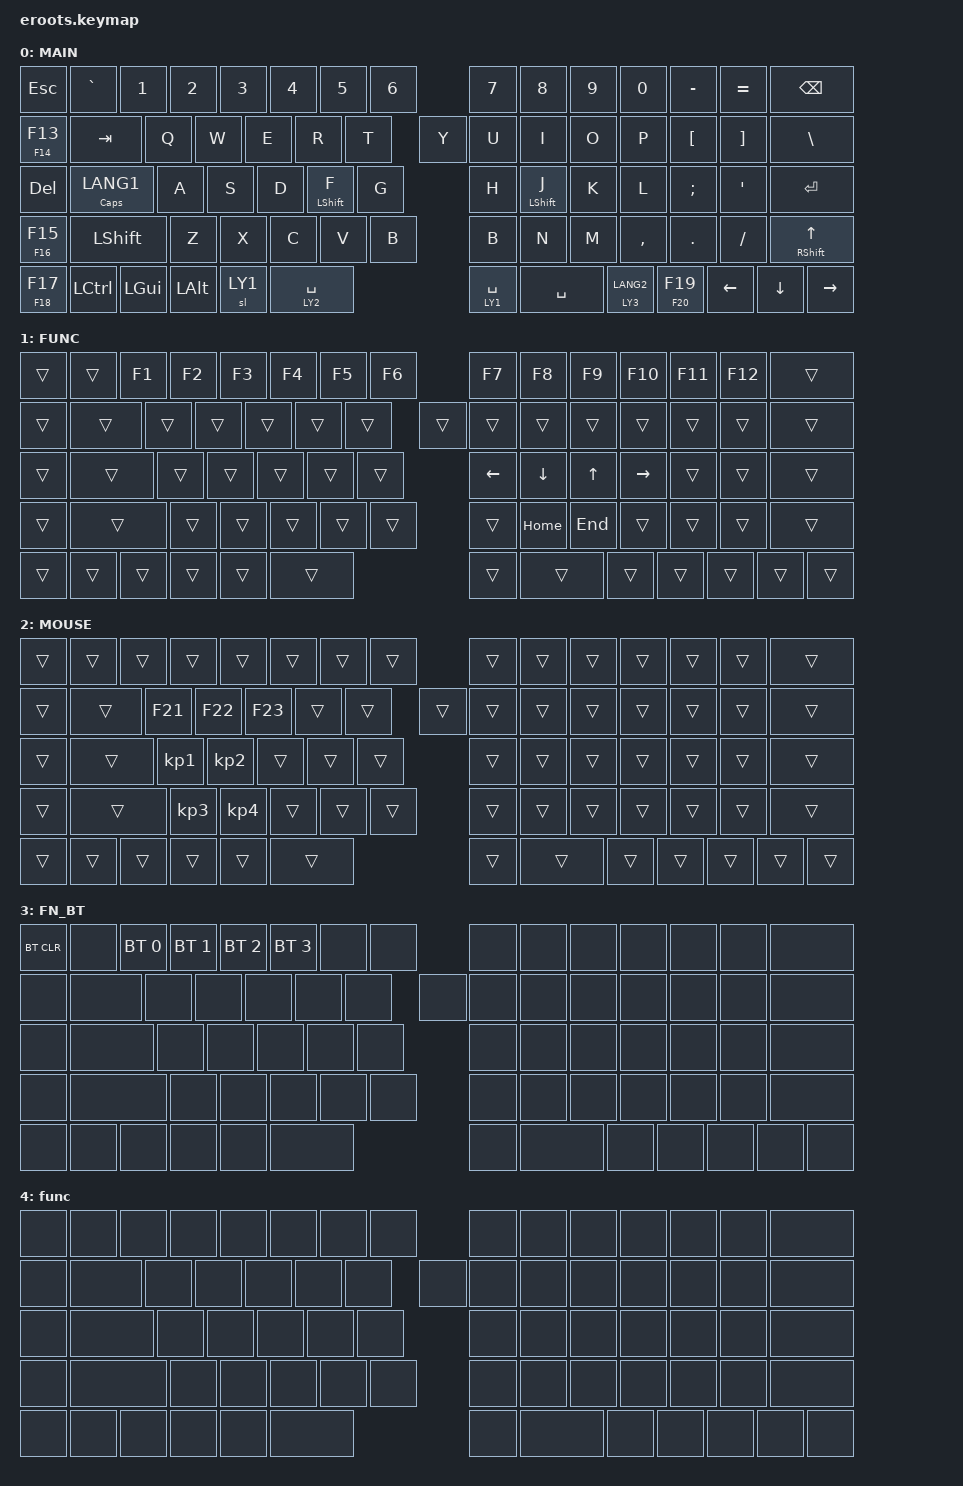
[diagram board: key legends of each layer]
#include <behaviors.dtsi>
#include <dt-bindings/zmk/keys.h>
#include <dt-bindings/zmk/bt.h>
#include <dt-bindings/zmk/ext_power.h>
#include <dt-bindings/zmk/mouse.h>



#include <behaviors/mouse_keys.dtsi>
#include <behaviors/mouse_move.dtsi>

#include <behaviors/behavior_pim447.dtsi>
#include <dt-bindings/behavior_pim447.h>


#define LY0 0
#define LY1 1
#define LY2 2
#define LY3 3
#define LY4 4

#define AS(keycode) &as LS(keycode) keycode


#define COMBO(NAME, BINDINGS, KEYPOS) \
  combo_##NAME { \
    timeout-ms = <50>; \
    bindings = <BINDINGS>; \
    key-positions = <KEYPOS>; \
    layers = <-1>; \
  };

/ {
        combos {
                compatible = "zmk,combos";
                combo_entr {
                    timeout-ms = <50>;
                    key-positions = <38 39>;
                    bindings = <&kp ENTER>;
                };
                combo_bspc {
                    timeout-ms = <50>;
                    key-positions = <39 40>;
                    bindings = <&kp BSPC>;
                };
                combo_esc {
                    timeout-ms = <50>;
                    key-positions = <35 34>;
                    bindings = <&kp ESC>;
                };
        };
};

/ {
        behaviors {
            as: auto_shift {
                compatible = "zmk,behavior-hold-tap";
                label = "AUTO_SHIFT";
                #binding-cells = <2>;
                tapping_term_ms = <200>;
                quick-tap-ms = <0>;
                flavor = "tap-preferred";
                bindings = <&kp>, <&kp>;
            };
        };
};
        


/ {
    keymap {
        compatible = "zmk,keymap";

        default_layer {
            display-name = "MAIN";
            bindings = <
            // --------------------------------------------------------------------------------------------------------------------------------------------------------
                &kp ESC  &kp GRAVE &kp N1  &kp N2  &kp N3  &kp N4   &kp N5  &kp N6            &kp N7   &kp N8    &kp N9   &kp N0    &kp MINUS &kp EQUAL &kp BSPC
            // --------------------------------------------------------------------------------------------------------------------------------------------------------
               &as F14 F13 &kp TAB  &kp Q   &kp W    &kp E   &kp R    &kp T              &kp Y    &kp U    &kp I    &kp O    &kp P     &kp LBKT &kp RBKT &kp BSLH 
            // --------------------------------------------------------------------------------------------------------------------------------------------------------
                &kp DEL  &as CAPS LANG1 &kp A   &kp S    &kp D   &as LSHFT F  &kp G                       &kp H   &as LSHFT J  &kp K    &kp L    &kp SEMI  &kp SQT   &kp ENTER
            // --------------------------------------------------------------------------------------------------------------------------------------------------------
                &as F16 F15   &kp LSHFT &kp Z   &kp X   &kp C    &kp V    &kp B                       &kp B    &kp N    &kp M    &kp COMMA &kp DOT   &kp FSLH  &as RSHFT UP
            // --------------------------------------------------------------------------------------------------------------------------------------------------------
              &as F18 F17 &kp LCTRL &kp LGUI &kp LALT &sl LY1  &lt LY2 SPACE             &lt LY1 SPACE &kp SPACE &lt LY3 LANG2  &as F20 F19 &kp LEFT  &kp DOWN &kp RIGHT
            // --------------------------------------------------------------------------------------------------------------------------------------------------------
            >;
        };

        lower_layer {
            display-name = "FUNC";
            bindings = <
            // --------------------------------------------------------------------------------------------------------------------------------------------------------
                &trans    &trans    &kp F1   &kp F2   &kp F3   &kp F4   &kp F5   &kp F6              &kp F7   &kp F8    &kp F9    &kp F10   &kp F11   &kp F12  &trans
            // --------------------------------------------------------------------------------------------------------------------------------------------------------
                &trans    &trans    &trans   &trans    &trans     &trans    &trans               &trans    &trans    &trans     &trans     &trans     &trans     &trans    &trans
            // --------------------------------------------------------------------------------------------------------------------------------------------------------
                &trans    &trans    &trans   &trans    &trans    &trans    &trans                        &kp LEFT  &kp DOWN   &kp UP   &kp RIGHT     &trans     &trans    &trans  
            // --------------------------------------------------------------------------------------------------------------------------------------------------------
                &trans    &trans    &trans   &trans    &trans    &trans    &trans                        &trans    &kp HOME   &kp END    &trans     &trans     &trans    &trans 
            // --------------------------------------------------------------------------------------------------------------------------------------------------------
                &trans    &trans    &trans   &trans    &trans    &trans                                 &trans    &trans     &trans     &trans     &trans     &trans    &trans 
            // --------------------------------------------------------------------------------------------------------------------------------------------------------
            >;  
        };

        upper_layer {
            display-name = "MOUSE";
            bindings = <
                &trans          &trans   &trans         &trans         &trans    &trans    &trans    &trans               &trans    &trans     &trans     &trans     &trans     &trans    &trans
                &trans          &trans   &kp F21        &kp F22        &kp F23    &trans    &trans               &trans    &trans    &trans     &trans     &trans     &trans     &trans    &trans
                &trans          &trans   &kp KP_N1      &kp KP_N2       &trans    &trans    &trans                        &trans    &trans     &trans     &trans     &trans     &trans    &trans  
                &trans          &trans   &kp KP_N3      &kp KP_N4       &trans    &trans    &trans                        &trans    &trans     &trans     &trans     &trans     &trans    &trans 
                &trans          &trans   &trans         &trans          &trans    &trans                                 &trans    &trans     &trans     &trans     &trans     &trans    &trans 
            >;  
        };

        numbr_layer {
            display-name = "FN_BT";
            bindings = <
                &bt BT_CLR  &none  &bt BT_SEL 0 &bt BT_SEL 1  &bt BT_SEL 2   &bt BT_SEL 3    &none    &none               &none    &none     &none     &none     &none     &none    &none
                &none    &none    &none    &none    &none    &none    &none               &none    &none    &none     &none     &none     &none     &none    &none
                &none    &none    &none    &none    &none    &none    &none                        &none    &none     &none     &none     &none     &none    &none  
                &none    &none    &none    &none    &none    &none    &none                        &none    &none     &none     &none     &none     &none    &none 
                &none    &none    &none    &none    &none    &none                                 &none    &none     &none     &none     &none     &none    &none 
            >;  
        };

        func_layer {
            display-name = "func";
            bindings = <
                &none    &none    &none    &none    &none    &none    &none    &none               &none    &none     &none     &none     &none     &none    &none
                &none    &none    &none    &none    &none    &none    &none               &none    &none    &none     &none     &none     &none     &none    &none
                &none    &none    &none    &none    &none    &none    &none                        &none    &none     &none     &none     &none     &none    &none  
                &none    &none    &none    &none    &none    &none    &none                        &none    &none     &none     &none     &none     &none    &none 
                &none    &none    &none    &none    &none    &none                                 &none    &none     &none     &none     &none     &none    &none 
            >;  
        };

    };
};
